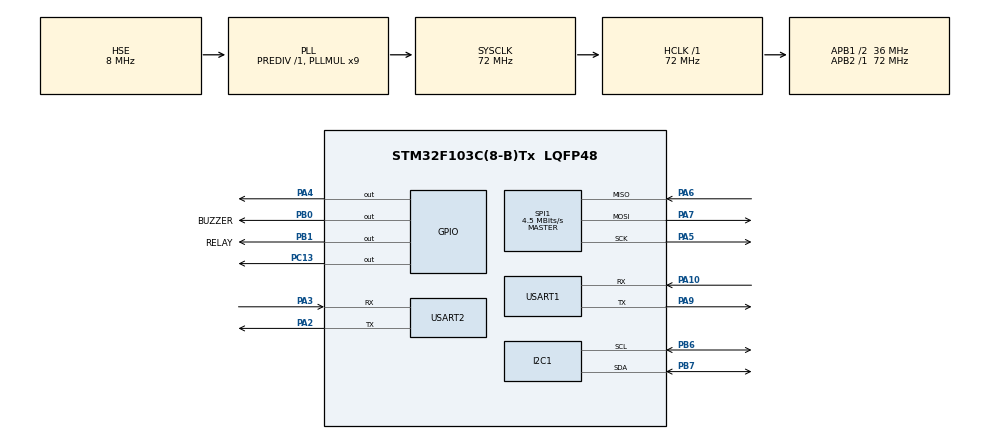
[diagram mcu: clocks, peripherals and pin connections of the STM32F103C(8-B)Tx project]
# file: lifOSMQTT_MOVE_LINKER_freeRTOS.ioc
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FREERTOS.BinarySemaphores01=semaphore_to_do_post,Dynamic,NULL
FREERTOS.Tasks01=read_cards,0,512,read_card_task,Default,NULL,Dynamic,NULL,NULL;process_status,1,512,process_status_task,Default,NULL,Dynamic,NULL,NULL;postenabled,1,512,send_card_data_MQTT,Default,NULL,Dynamic,NULL,NULL;check,0,254,check_MQTT,Default,NULL,Dynamic,NULL,NULL
FREERTOS.configMINIMAL_STACK_SIZE=128
FREERTOS.configTOTAL_HEAP_SIZE=8000
FREERTOS.configUSE_NEWLIB_REENTRANT=1
FREERTOS.configUSE_PREEMPTION=1
FREERTOS.configUSE_STATS_FORMATTING_FUNCTIONS=0
FREERTOS.configUSE_TRACE_FACILITY=0
Mcu.Family=STM32F1
Mcu.Name=STM32F103C(8-B)Tx
Mcu.Package=LQFP48
NVIC.PriorityGroup=NVIC_PRIORITYGROUP_4
NVIC.USART1_IRQn=true\:5\:0\:false\:false\:true\:true\:true\:true\:true
PA10.Mode=Asynchronous
PA10.Signal=USART1_RX
PA13.Mode=Serial_Wire
PA13.Signal=SYS_JTMS-SWDIO
PA14.Mode=Serial_Wire
PA14.Signal=SYS_JTCK-SWCLK
PA2.Mode=Asynchronous
PA2.Signal=USART2_TX
PA3.Mode=Asynchronous
PA3.Signal=USART2_RX
PA4.Signal=GPIO_Output
PA5.Mode=Full_Duplex_Master
PA5.Signal=SPI1_SCK
PA6.Mode=Full_Duplex_Master
PA6.Signal=SPI1_MISO
PA7.Mode=Full_Duplex_Master
PA7.Signal=SPI1_MOSI
PA9.Mode=Asynchronous
PA9.Signal=USART1_TX
PB0.GPIO_Label=BUZZER
PB0.Signal=GPIO_Output
PB1.GPIO_Label=RELAY
PB1.Signal=GPIO_Output
PB6.Mode=I2C
PB6.Signal=I2C1_SCL
PB7.Mode=I2C
PB7.Signal=I2C1_SDA
PC13-TAMPER-RTC.Signal=GPIO_Output
PD0-OSC_IN.Mode=HSE-External-Oscillator
PD0-OSC_IN.Signal=RCC_OSC_IN
PD1-OSC_OUT.Mode=HSE-External-Oscillator
PD1-OSC_OUT.Signal=RCC_OSC_OUT
ProjectManager.HeapSize=0x200
ProjectManager.StackSize=0x400
ProjectManager.TargetToolchain=STM32CubeIDE
RCC.AHBFreq_Value=72000000
RCC.APB1CLKDivider=RCC_HCLK_DIV2
RCC.APB1Freq_Value=36000000
RCC.APB1TimFreq_Value=72000000
RCC.APB2Freq_Value=72000000
RCC.APB2TimFreq_Value=72000000
RCC.HCLKFreq_Value=72000000
RCC.PLLMUL=RCC_PLL_MUL9
RCC.PLLSourceVirtual=RCC_PLLSOURCE_HSE
RCC.SYSCLKFreq_VALUE=72000000
RCC.SYSCLKSource=RCC_SYSCLKSOURCE_PLLCLK
RCC.USBFreq_Value=72000000
SPI1.BaudRatePrescaler=SPI_BAUDRATEPRESCALER_16
SPI1.CalculateBaudRate=4.5 MBits/s
SPI1.Direction=SPI_DIRECTION_2LINES
SPI1.Mode=SPI_MODE_MASTER
SPI1.VirtualType=VM_MASTER
USART1.VirtualMode=VM_ASYNC
USART2.VirtualMode=VM_ASYNC
VP_FREERTOS_VS_CMSIS_V1.Mode=CMSIS_V1
board=custom

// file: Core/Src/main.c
/* USER CODE BEGIN Header */
/* USER CODE END Header */
#include "main.h"
#include "cmsis_os.h"

/* USER CODE BEGIN Includes */
#include "string.h"
#include <stdio.h>
#include "extra_functions_for_work.h"
#include "quectel_commands_shortand.h"
#include "rc522.h"
#include "liquidcrystal_i2c.h"
#include "GEOtextLib.h"
#include "switchSounds.h"
#include "variables.h"
/* USER CODE END Includes */

/* USER CODE BEGIN PM */
#define DEBUG_STACK 0

#define versionAdress 0x0800BFF0
#define resetAddress 0x08000000
#define currentTerminalADRR 0x0800B000

#define STR_HELPER(x) #x
#define STR(x) STR_HELPER(x)

#define card_read_allowed 			 	( 1UL << 0UL )
#define make_card_request			 	( 1UL << 1UL )
#define card_requst_made	 		 	( 1UL << 2UL )
#define make_check_request	 		 	( 1UL << 3UL )
#define check_request_made	 		 	( 1UL << 4UL )
#define config_requst_made	 		 	( 1UL << 5UL )
#define free_termnal 		 		 	( 1UL << 6UL )

#define GET_CONGIF		 				222
#define NO_BALLANCE_STATUS				291
#define UNKNOW_CARD_STATUS				293
#define MEMBERSHIP_PASS_STATUS			210 // NOT YET ADDED
#define CONNECTION_CHECK_STATUS			200
#define PAYMANT_OK_STATUS				202
#define GET_BALLANCE_STATUS				201
#define CARD_IS_NOT_ATIVE_STATUS		297
uint8_t PRICE[5] = "xx";
uint8_t store_input_flag = 0;
uint8_t c;
uint32_t version;
uint64_t terminalID;
char * terminalStr;
uint8_t MQTT_CHECK_DATA[100];
uint8_t MQTT_GIVE_CONFIG[100];
uint8_t BUFFER[50];
uint8_t LENGTH_OF_CARD_DATA;
uint8_t LENGTH_OF_CHECK_DATA;
uint8_t LENGTH_OF_GIVE_CONFIG;
int i = 0;
int check = 0;
uint8_t counter = 1; // counter for read blocks
uint8_t postData[150];

uint8_t K = 0;//for i replacemant
uint32_t Timer = 0; //timer for counter

TickType_t card_request_time;
TickType_t check_request_time;
TickType_t after_start;
/* Semaphores !---------------------------------------------------------!*/
SemaphoreHandle_t semaphore_to_enable_status_process;
/* Semaphores !---------------------------------------------------------!*/

//for trecking space taken by tasks
#if DEBUG_STACK == 1
	UBaseType_t uxHighWaterMark_for_card_read;
	UBaseType_t uxHighWaterMark_for_process_status;
	UBaseType_t uxHighWaterMark_for_post_mqtt;
#endif

//for trecking space taken by tasks

//events
EventGroupHandle_t status_event;
EventBits_t event_bits;
//events
/* USER CODE END PM */

I2C_HandleTypeDef hi2c1;

SPI_HandleTypeDef hspi1;

UART_HandleTypeDef huart1;
UART_HandleTypeDef huart2;

osThreadId read_cardsHandle;
osThreadId process_statusHandle;
osThreadId postenabledHandle;
osThreadId checkHandle;
osSemaphoreId semaphore_to_do_postHandle;
/* USER CODE BEGIN PV */
void HAL_UART_RxCpltCallback(UART_HandleTypeDef *huart)
{

BaseType_t xHigherPriorityTaskWoken;

  if (huart->Instance == USART1)
  {
	xHigherPriorityTaskWoken = pdFALSE;
	if(c == '<'){
		store_input_flag = 1;
	}

	if(store_input_flag){
		BUFFER[i++] = c;
	}
	if(c == '!'){
		store_input_flag = 0;

		xSemaphoreGiveFromISR(semaphore_to_enable_status_process, &xHigherPriorityTaskWoken );

		portYIELD_FROM_ISR( xHigherPriorityTaskWoken );
		//HAL_UART_Transmit(&huart1, BUFFER, strlen((char *)BUFFER), 50);
	}
	  HAL_UART_Receive_IT(&huart1, &c, 1);
  }
}

/* USER CODE END PV */

void SystemClock_Config(void);
static void MX_GPIO_Init(void);
static void MX_I2C1_Init(void);
static void MX_SPI1_Init(void);
static void MX_USART1_UART_Init(void);
static void MX_USART2_UART_Init(void);
void read_card_task(void const * argument);
void process_status_task(void const * argument);
void send_card_data_MQTT(void const * argument);
void check_MQTT(void const * argument);

int main(void)
{
  /* USER CODE BEGIN 1 */
	__disable_irq();
	SCB->VTOR = 0x800C000;
	__enable_irq();
  /* USER CODE END 1 */

  /* MCU Configuration--------------------------------------------------------*/

  /* Reset of all peripherals, Initializes the Flash interface and the Systick. */
  HAL_Init();

  /* Configure the system clock */
  SystemClock_Config();

  /* Initialize all configured peripherals */
  MX_GPIO_Init();
  MX_I2C1_Init();
  MX_SPI1_Init();
  MX_USART1_UART_Init();
  MX_USART2_UART_Init();
  /* USER CODE BEGIN 2 */
  MFRC522_Init();
  HD44780_Init(2);

  HAL_UART_Receive_IT(&huart1, &c, 1);

  version = *(__IO uint32_t *)versionAdress; // for version check
  terminalID = *(uint64_t *)currentTerminalADRR;
  terminalStr = convertNumberToCharArray(terminalID);
//
 sprintf((char*) MQTT_CHECK_DATA, "{\"operationType\":\"check\",\"content\":{\"terminalID\":\"%s\",\"firmwareVersion\":%ld}}",terminalStr, version);
 LENGTH_OF_CHECK_DATA = strlen((char*)MQTT_CHECK_DATA);
 sprintf((char*) MQTT_GIVE_CONFIG, "{\"operationType\":\"config\",\"content\":{\"terminalID\":\"%s\"}}",terminalStr);
 LENGTH_OF_GIVE_CONFIG = strlen((char*)MQTT_GIVE_CONFIG);
 send_data_to_MQTT(LENGTH_OF_GIVE_CONFIG,MQTT_GIVE_CONFIG);
 after_start = xTaskGetTickCount();
  /* USER CODE END 2 */

  /* Create the semaphores(s) */
  /* definition and creation of semaphore_to_do_post */

  /* USER CODE BEGIN RTOS_SEMAPHORES */
  semaphore_to_enable_status_process =  xSemaphoreCreateBinary();

  status_event = xEventGroupCreate();
  /* USER CODE END RTOS_SEMAPHORES */

  /* Create the thread(s) */
  /* definition and creation of read_cards */
  osThreadDef(read_cards, read_card_task, osPriorityNormal, 0, 400);
  read_cardsHandle = osThreadCreate(osThread(read_cards), NULL);

  /* definition and creation of process_status */
  osThreadDef(process_status, process_status_task, osPriorityAboveNormal, 0, 300);
  process_statusHandle = osThreadCreate(osThread(process_status), NULL);

  /* definition and creation of postenabled */
  osThreadDef(postenabled, send_card_data_MQTT, osPriorityAboveNormal, 0, 150);
  postenabledHandle = osThreadCreate(osThread(postenabled), NULL);

  /* definition and creation of check */
  osThreadDef(check, check_MQTT, osPriorityNormal, 0, 300);
  checkHandle = osThreadCreate(osThread(check), NULL);

  /* USER CODE BEGIN RTOS_THREADS */
  printMiadetBarati(0, 2, PRICE);

  xEventGroupSetBits(status_event, card_read_allowed);
  xEventGroupSetBits(status_event, config_requst_made);
  event_bits = xEventGroupGetBits(status_event);

  /* USER CODE END RTOS_THREADS */

  /* Start scheduler */
  osKernelStart();
  /* We should never get here as control is now taken by the scheduler */
  /* Infinite loop */
  /* USER CODE BEGIN WHILE */
  HD44780_PrintStr("cheduler ERR");
  NVIC_SystemReset();

  while(1){

  }
    /* USER CODE END WHILE */

}

void SystemClock_Config(void)
{
  RCC_OscInitTypeDef RCC_OscInitStruct = {0};
  RCC_ClkInitTypeDef RCC_ClkInitStruct = {0};

  /** Initializes the RCC Oscillators according to the specified parameters
  * in the RCC_OscInitTypeDef structure.
  */
  RCC_OscInitStruct.OscillatorType = RCC_OSCILLATORTYPE_HSE;
  RCC_OscInitStruct.HSEState = RCC_HSE_ON;
  RCC_OscInitStruct.HSEPredivValue = RCC_HSE_PREDIV_DIV1;
  RCC_OscInitStruct.HSIState = RCC_HSI_ON;
  RCC_OscInitStruct.PLL.PLLState = RCC_PLL_ON;
  RCC_OscInitStruct.PLL.PLLSource = RCC_PLLSOURCE_HSE;
  RCC_OscInitStruct.PLL.PLLMUL = RCC_PLL_MUL9;
  if (HAL_RCC_OscConfig(&RCC_OscInitStruct) != HAL_OK)
  {
    Error_Handler();
  }

  /** Initializes the CPU, AHB and APB buses clocks
  */
  RCC_ClkInitStruct.ClockType = RCC_CLOCKTYPE_HCLK|RCC_CLOCKTYPE_SYSCLK
                              |RCC_CLOCKTYPE_PCLK1|RCC_CLOCKTYPE_PCLK2;
  RCC_ClkInitStruct.SYSCLKSource = RCC_SYSCLKSOURCE_PLLCLK;
  RCC_ClkInitStruct.AHBCLKDivider = RCC_SYSCLK_DIV1;
  RCC_ClkInitStruct.APB1CLKDivider = RCC_HCLK_DIV2;
  RCC_ClkInitStruct.APB2CLKDivider = RCC_HCLK_DIV1;

  if (HAL_RCC_ClockConfig(&RCC_ClkInitStruct, FLASH_LATENCY_2) != HAL_OK)
  {
    Error_Handler();
  }
}

static void MX_I2C1_Init(void)
{

  hi2c1.Instance = I2C1;
  hi2c1.Init.ClockSpeed = 100000;
  hi2c1.Init.DutyCycle = I2C_DUTYCYCLE_2;
  hi2c1.Init.OwnAddress1 = 0;
  hi2c1.Init.AddressingMode = I2C_ADDRESSINGMODE_7BIT;
  hi2c1.Init.DualAddressMode = I2C_DUALADDRESS_DISABLE;
  hi2c1.Init.OwnAddress2 = 0;
  hi2c1.Init.GeneralCallMode = I2C_GENERALCALL_DISABLE;
  hi2c1.Init.NoStretchMode = I2C_NOSTRETCH_DISABLE;
  if (HAL_I2C_Init(&hi2c1) != HAL_OK)
  {
    Error_Handler();
  }

}

static void MX_SPI1_Init(void)
{

  /* SPI1 parameter configuration*/
  hspi1.Instance = SPI1;
  hspi1.Init.Mode = SPI_MODE_MASTER;
  hspi1.Init.Direction = SPI_DIRECTION_2LINES;
  hspi1.Init.DataSize = SPI_DATASIZE_8BIT;
  hspi1.Init.CLKPolarity = SPI_POLARITY_LOW;
  hspi1.Init.CLKPhase = SPI_PHASE_1EDGE;
  hspi1.Init.NSS = SPI_NSS_SOFT;
  hspi1.Init.BaudRatePrescaler = SPI_BAUDRATEPRESCALER_16;
  hspi1.Init.FirstBit = SPI_FIRSTBIT_MSB;
  hspi1.Init.TIMode = SPI_TIMODE_DISABLE;
  hspi1.Init.CRCCalculation = SPI_CRCCALCULATION_DISABLE;
  hspi1.Init.CRCPolynomial = 10;
  if (HAL_SPI_Init(&hspi1) != HAL_OK)
  {
    Error_Handler();
  }

}
static void MX_USART1_UART_Init(void)
{

  huart1.Instance = USART1;
  huart1.Init.BaudRate = 115200;
  huart1.Init.WordLength = UART_WORDLENGTH_8B;
  huart1.Init.StopBits = UART_STOPBITS_1;
  huart1.Init.Parity = UART_PARITY_NONE;
  huart1.Init.Mode = UART_MODE_TX_RX;
  huart1.Init.HwFlowCtl = UART_HWCONTROL_NONE;
  huart1.Init.OverSampling = UART_OVERSAMPLING_16;
  if (HAL_UART_Init(&huart1) != HAL_OK)
  {
    Error_Handler();
  }

}

static void MX_USART2_UART_Init(void)
{

  huart2.Instance = USART2;
  huart2.Init.BaudRate = 115200;
  huart2.Init.WordLength = UART_WORDLENGTH_8B;
  huart2.Init.StopBits = UART_STOPBITS_1;
  huart2.Init.Parity = UART_PARITY_NONE;
  huart2.Init.Mode = UART_MODE_TX_RX;
  huart2.Init.HwFlowCtl = UART_HWCONTROL_NONE;
  huart2.Init.OverSampling = UART_OVERSAMPLING_16;
  if (HAL_UART_Init(&huart2) != HAL_OK)
  {
    Error_Handler();
  }

}

static void MX_GPIO_Init(void)
{
  GPIO_InitTypeDef GPIO_InitStruct = {0};

  /* GPIO Ports Clock Enable */
  __HAL_RCC_GPIOC_CLK_ENABLE();
  __HAL_RCC_GPIOD_CLK_ENABLE();
  __HAL_RCC_GPIOA_CLK_ENABLE();
  __HAL_RCC_GPIOB_CLK_ENABLE();

  /*Configure GPIO pin Output Level */
  HAL_GPIO_WritePin(GPIOC, GPIO_PIN_13, GPIO_PIN_RESET);

  /*Configure GPIO pin Output Level */
  HAL_GPIO_WritePin(GPIOA, GPIO_PIN_4, GPIO_PIN_RESET);

  /*Configure GPIO pin Output Level */
  HAL_GPIO_WritePin(GPIOB, BUZZER_Pin|RELAY_Pin, GPIO_PIN_RESET);

  /*Configure GPIO pin : PC13 */
  GPIO_InitStruct.Pin = GPIO_PIN_13;
  GPIO_InitStruct.Mode = GPIO_MODE_OUTPUT_PP;
  GPIO_InitStruct.Pull = GPIO_NOPULL;
  GPIO_InitStruct.Speed = GPIO_SPEED_FREQ_LOW;
  HAL_GPIO_Init(GPIOC, &GPIO_InitStruct);

  /*Configure GPIO pin : PA4 */
  GPIO_InitStruct.Pin = GPIO_PIN_4;
  GPIO_InitStruct.Mode = GPIO_MODE_OUTPUT_PP;
  GPIO_InitStruct.Pull = GPIO_NOPULL;
  GPIO_InitStruct.Speed = GPIO_SPEED_FREQ_LOW;
  HAL_GPIO_Init(GPIOA, &GPIO_InitStruct);

  /*Configure GPIO pins : BUZZER_Pin RELAY_Pin */
  GPIO_InitStruct.Pin = BUZZER_Pin|RELAY_Pin;
  GPIO_InitStruct.Mode = GPIO_MODE_OUTPUT_PP;
  GPIO_InitStruct.Pull = GPIO_NOPULL;
  GPIO_InitStruct.Speed = GPIO_SPEED_FREQ_LOW;
  HAL_GPIO_Init(GPIOB, &GPIO_InitStruct);

}

void read_card_task(void const * argument)
{
  /* USER CODE BEGIN 5 */

	for(;;){

//		 MQTTPubToTopic(strlen((char*)MQTT_CHECK_DATA));
//		 HAL_UART_Transmit(&huart1, MQTT_CHECK_DATA, strlen((char*)MQTT_CHECK_DATA), 50);
//
//		 HAL_GPIO_TogglePin(GPIOC, GPIO_PIN_13);
//
		xEventGroupWaitBits(status_event, card_read_allowed, pdFALSE, pdTRUE, portMAX_DELAY); //( xEventGroup, uxBitsToWaitFor, xClearOnExit,  xWaitForAllBits, xTicksToWait )
		event_bits = xEventGroupGetBits(status_event);
		uint8_t card_detected_flag = card_detected();

		 //printMiadetBarati(0, 2, PRICE);
		#if DEBUG_STACK == 1
			uxHighWaterMark_for_card_read = uxTaskGetStackHighWaterMark( NULL );
		#endif

			if(card_detected_flag && event_bits != 17){ // if card detecteed and check requst is not made
						uint8_t final_id[35];
						Timer = HAL_GetTick();
						 while(counter < 3){

							  uint8_t* data_ptr = read_card_data(counter);
							  if(data_ptr != NULL){
								  for(int i = 0; i<16; i++){
									  if(data_ptr[i] != '\0'){
										  final_id[K++] = data_ptr[i];
									  }

								  }
								  counter++;
							  }
							  if(HAL_GetTick() - Timer >= 1000){
								  counter = 1;
								  K = 0;
								  break;
							  }
						 }

						 if(counter == 3){ // if all blocks are read
							 sprintf((char*)postData, "{\"operationType\":\"payment\",\"content\":{\"terminalID\":\"%s\",\"cardID\":\"%s\"}}",terminalStr, final_id);
							 LENGTH_OF_CARD_DATA = strlen((char*)postData);
							 CardReadSound();
							 counter = 1;
							 K = 0;
							 if((event_bits & free_termnal) != 0){
								 prinWarmateba(0, 3);
								 AppruveSound();
								 osDelay(1000);
								 //RelaySwitch();
								 printMiadetBarati(0, 2, PRICE);

							 }
							 else{
								 xEventGroupSetBits(status_event, make_card_request);
							 }

						 }
						 memset(final_id, 0, sizeof(final_id));
					 }
		 osDelay(100);
		}
  /* USER CODE END 5 */
}

/* USER CODE BEGIN Header_process_status_task */
void vApplicationIdleHook( void )
{
 /* This hook function does nothing but increment a counter. */
}

/* USER CODE END Header_process_status_task */
void process_status_task(void const * argument)
{
  /* USER CODE BEGIN process_status_task */
	for(;;){
		xSemaphoreTake( semaphore_to_enable_status_process, portMAX_DELAY );
		EventBits_t check_event_stat;
		#if DEBUG_STACK == 1
			uxHighWaterMark_for_process_status = uxTaskGetStackHighWaterMark( NULL );
		#endif

		int Status = takeStatus(BUFFER, i);
		i = 0;
		uint8_t dispData[50];
		//HAL_UART_Transmit(&huart1, BUFFER, sizeof BUFFER / sizeof BUFFER[0], 10);
		switch(Status){
			case PAYMANT_OK_STATUS:
				check_event_stat = xEventGroupGetBits( status_event );
				HAL_GPIO_TogglePin(GPIOB, RELAY_Pin);
				AppruveSound();
				prinWarmateba(0, 3);
				if((check_event_stat & card_requst_made) != 0){
					if(postData != NULL)insert(postData);
					LENGTH_OF_CARD_DATA = strlen((char*)postData);
					send_data_to_MQTT(LENGTH_OF_CARD_DATA, postData);
					MQTTPubToTopic(LENGTH_OF_CARD_DATA);
				}
				else{
					HAL_Delay(1000);
					printMiadetBarati(0, 2, PRICE);
				}
				HAL_GPIO_TogglePin(GPIOB, RELAY_Pin);
				break;
			case CONNECTION_CHECK_STATUS:

				xEventGroupClearBits(status_event, check_request_made);
				break;
			case GET_BALLANCE_STATUS:
				takeData(BUFFER, strlen((char*)BUFFER), dispData);
				printBalansi(0, 0);
				HD44780_PrintStr((char*) dispData);
				HAL_Delay(2000);
				memset(postData, 0, sizeof(postData));
				xEventGroupSetBits(status_event, card_read_allowed);
				xEventGroupClearBits(status_event, card_requst_made);
				printMiadetBarati(0, 2, PRICE);
				break;
			case UNKNOW_CARD_STATUS:
				HD44780_Clear();
				HD44780_SetCursor(0, 0);
				printUcxoBaratia(0,0);
				ErrorSound();
				HAL_Delay(1000);
				printMiadetBarati(0, 2, PRICE);
				xEventGroupSetBits(status_event, card_read_allowed);
				xEventGroupClearBits(status_event, card_requst_made);
				break;
			case NO_BALLANCE_STATUS:
				HD44780_Clear();
				HD44780_SetCursor(0, 0);
				printBlansiAraa(0, 0);
				ErrorSound();
				HAL_Delay(1000);
				printMiadetBarati(0, 2, PRICE);
				xEventGroupSetBits(status_event, card_read_allowed);
				xEventGroupClearBits(status_event, card_requst_made);
				break;
			case GET_CONGIF:
				takeData(BUFFER, strlen((char*)BUFFER), PRICE);
				printMiadetBarati(0, 2, PRICE);
				if(PRICE[0] == '0'){
					  xEventGroupSetBits(status_event, free_termnal);
					  HAL_GPIO_WritePin(GPIOB, RELAY_Pin, 1);
				}else{
					  xEventGroupClearBits(status_event, free_termnal);
					  HAL_GPIO_WritePin(GPIOB, RELAY_Pin, 0);
				}
				xEventGroupClearBits(status_event, config_requst_made);

				break;
			case CARD_IS_NOT_ATIVE_STATUS:
				HD44780_Clear();
				HD44780_SetCursor(0, 0);
				printAraaAqtiuri(0, 2);
				ErrorSound();
				HAL_Delay(1000);
				printMiadetBarati(0, 2, PRICE);
				xEventGroupSetBits(status_event, card_read_allowed);
				xEventGroupClearBits(status_event, card_requst_made);
				break;
			case MEMBERSHIP_PASS_STATUS:
				HAL_GPIO_TogglePin(GPIOB, RELAY_Pin);
				AppruveSound();
				printSaabonento(0, 3);
				HAL_Delay(1000);
				HAL_GPIO_TogglePin(GPIOB, RELAY_Pin);
				printMiadetBarati(0, 2, PRICE);
				xEventGroupSetBits(status_event, card_read_allowed);
				xEventGroupClearBits(status_event, card_requst_made);
				break;
			default:

				memset(dispData, 0, sizeof(dispData));
				memset(postData, 0, sizeof(postData));
				printMiadetBarati(0, 2, PRICE);
				xEventGroupSetBits(status_event, card_read_allowed);
				xEventGroupClearBits(status_event, card_requst_made);

	  }
		memset(BUFFER, '\0', sizeof BUFFER / sizeof BUFFER[0]);
	}
  /* USER CODE END process_status_task */
}

void send_card_data_MQTT(void const * argument)
{
  /* USER CODE BEGIN send_card_data_MQTT */
  /* Infinite loop */
	const EventBits_t bits_to_wait = ( make_card_request | make_check_request );
	EventBits_t xEventGroupValue;
	//xSemaphoreTake(semaphore_to_do_post, portMAX_DELAY);
	for(;;)
	{
		xEventGroupValue = xEventGroupWaitBits(status_event, bits_to_wait, pdTRUE, pdFALSE, portMAX_DELAY); //( xEventGroup, uxBitsToWaitFor, xClearOnExit,  xWaitForAllBits, xTicksToWait )

		if((xEventGroupValue & make_card_request) != 0){
			xEventGroupClearBits(status_event, card_read_allowed);
			printDaicadet(0, 4);
			send_data_to_MQTT(LENGTH_OF_CARD_DATA, postData);
			card_request_time = xTaskGetTickCount();

			xEventGroupSetBits(status_event, card_requst_made);
		}

		if((xEventGroupValue & make_check_request) != 0){

			send_data_to_MQTT(LENGTH_OF_CHECK_DATA, MQTT_CHECK_DATA);
			xEventGroupSetBits(status_event, check_request_made);
			check_request_time = xTaskGetTickCount();

		}
		#if DEBUG_STACK == 1
			uxHighWaterMark_for_post_mqtt = uxTaskGetStackHighWaterMark( NULL );

		#endif
	}
  /* USER CODE END send_card_data_MQTT */
}

void check_MQTT(void const * argument)
{
  /* USER CODE BEGIN check_MQTT */
	TickType_t time_after_card_request_made;
	TickType_t time_after_check_request_made;
  /* Infinite loop */
  for(;;)
  {
	EventBits_t value_on_event = xEventGroupGetBits( status_event );
	if((value_on_event & card_requst_made) != 0){
		time_after_card_request_made = xTaskGetTickCount() - card_request_time;
		if(time_after_card_request_made >= 20000){
			AppruveSound();
			RelaySwitch();
			NVIC_SystemReset();
		}

	}
	if(xTaskGetTickCount() - after_start >= 10*60000 && value_on_event == 1 ){
		after_start = xTaskGetTickCount();
		value_on_event = xEventGroupGetBits( status_event );
		xEventGroupSetBits(status_event, make_check_request);

	}
	if(xTaskGetTickCount() - after_start >= 5000 && (value_on_event & config_requst_made) != 0 ){
		NVIC_SystemReset();
		}
	if((value_on_event & check_request_made) != 0){
		time_after_check_request_made = xTaskGetTickCount() - check_request_time;
		if(time_after_check_request_made >= 10000){
			NVIC_SystemReset();
		}
	}
    osDelay(500);

    //xEventGroupSetBits(status_event, make_check_request);

  }
  /* USER CODE END check_MQTT */
}

void Error_Handler(void)
{
}
